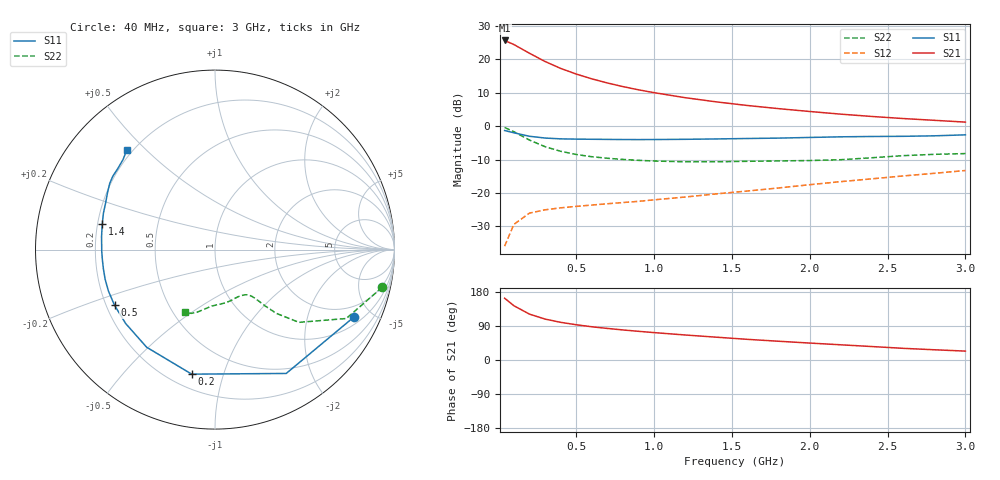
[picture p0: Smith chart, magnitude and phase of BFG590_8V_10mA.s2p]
! Filename:  BFG590I.S2P  Version:  4.0
! Philips part #: BFG590  Date: Jun 1994
! Bias condition: Vce=8V; Ic=10mA
#  MHz  S  MA  R  50
! Freq  S11  S21  S12  S22  !GUM [dB]
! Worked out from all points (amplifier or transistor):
!   21 points, 40 MHz to 3 GHz, reference 50 ohm
!   highest |S21| = 25.7 dB at 40 MHz (marker M1)
!   |S21| within 3 dB of that: start of sweep to 167.9 MHz
!   unconditionally stable (mu >= 1): 944.1 MHz to 2.268 GHz
!   at 300 MHz: K = 0.42, MSG = 22.2 dB, |S12| = -25.0 dB
!   at 1 GHz: K = 1.03, MAG = 15.0 dB, |S12| = -22.0 dB
!   at 3 GHz: K = 0.79, MSG = 7.2 dB, |S12| = -13.3 dB
!   S11 on the Smith chart (normalised r, x): 40 MHz: 1.35, -3.92; 200 MHz: 0.29, -0.79; 500 MHz: 0.23, -0.25; 1.4 GHz: 0.22, +0.11; 3 GHz: 0.18, +0.44
40  0.861 -25.8  19.18 163.1  0.016 76.7  0.955 -12.7
100  0.796 -60.1  16.64 143.1  0.034 60.1  0.826 -27.7
200  0.706 -100.6  12.34 121.0  0.05 45.2  0.619 -40.9
300  0.664 -125.0  9.286 108.0  0.056 39.8  0.493 -46.1
400  0.646 -140.4  7.322 99.4  0.06 38.2  0.421 -48.3
500  0.64 -151.0  6.031 93.0  0.063 38.2  0.377 -49.6
600  0.637 -158.8  5.108 87.7  0.066 39.6  0.349 -50.7
700  0.634 -164.9  4.433 83.3  0.069 41.4  0.331 -51.8
800  0.631 -170.2  3.91 79.3  0.072 43.3  0.318 -53.1
900  0.63 -174.9  3.502 75.7  0.075 45.9  0.308 -54.8
1000  0.631 -179.0  3.174 72.3  0.079 47.8  0.301 -56.8
1200  0.636 173.6  2.669 66.0  0.087 51.9  0.293 -61.8
1400  0.644 167.3  2.31 60.2  0.097 55.8  0.293 -67.6
1600  0.654 161.9  2.039 54.5  0.107 58.6  0.298 -73.4
1800  0.663 156.7  1.829 49.5  0.119 61.1  0.302 -79.0
2000  0.678 152.0  1.659 44.7  0.133 62.8  0.306 -85.6
2200  0.693 147.8  1.513 40.1  0.148 64.0  0.315 -93.2
2400  0.701 144.3  1.397 35.5  0.163 64.1  0.337 -100.1
2600  0.705 140.2  1.301 30.8  0.18 63.5  0.362 -105.8
2800  0.717 135.6  1.224 27.0  0.197 63.2  0.379 -110.4
3000  0.742 131.4  1.15 23.5  0.217 62.2  0.389 -115.8
